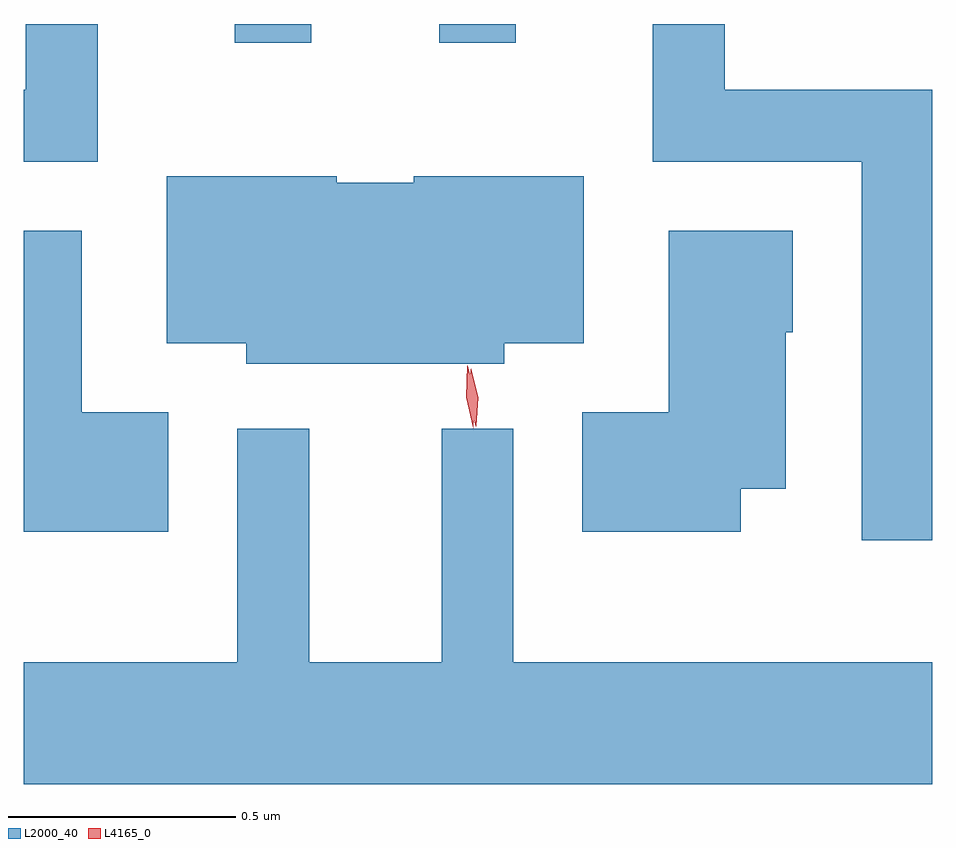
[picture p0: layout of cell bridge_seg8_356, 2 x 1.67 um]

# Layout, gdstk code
import gdstk
lib = gdstk.Library(unit=1e-6, precision=1e-09)
def R(c, l, rs):  # rectangles x0, y0, x1, y1
    for r in rs: c.add(gdstk.rectangle(r[:2], r[2:], *l))
def P(c, l, *ps):  # polygons
    for p in ps: c.add(gdstk.Polygon(p, *l))
L2000_40 = (2000, 40)
L4165_0 = (4165, 0)

bridge_seg8_356 = lib.new_cell('bridge_seg8_356')
R(bridge_seg8_356, L2000_40, [(712.551,1886.888,712.719,1886.929), (713.001,1886.888,713.169,1886.929)])
P(bridge_seg8_356, L2000_40, [(712.249,1886.929),(712.091,1886.929),(712.091,1886.784),(712.086,1886.784),(712.086,1886.626),(712.249,1886.626)],
  [(714.086,1886.784),(713.629,1886.784),(713.629,1886.929),(713.471,1886.929),(713.471,1886.626),(713.931,1886.626),(713.931,1885.793),(714.086,1885.793)],
  [(713.144,1886.226),(713.319,1886.226),(713.319,1886.594),(712.945,1886.594),(712.945,1886.579),(712.775,1886.579),(712.775,1886.594),(712.401,1886.594),(712.401,1886.226),(712.576,1886.226),(712.576,1886.181),(713.144,1886.181)],
  [(713.664,1885.906),(713.764,1885.906),(713.764,1886.25),(713.779,1886.25),(713.779,1886.474),(713.506,1886.474),(713.506,1886.074),(713.316,1886.074),(713.316,1885.811),(713.664,1885.811)],
  [(712.404,1886.074),(712.214,1886.074),(712.214,1886.474),(712.086,1886.474),(712.086,1885.811),(712.404,1885.811)],
  [(714.086,1885.524),(713.164,1885.524),(713.164,1886.038),(713.006,1886.038),(713.006,1885.524),(712.714,1885.524),(712.714,1886.038),(712.556,1886.038),(712.556,1885.524),(712.086,1885.524),(712.086,1885.256),(714.086,1885.256)])
P(bridge_seg8_356, L4165_0, [(713.081,1886.043),(713.081,1886.044),(713.066,1886.106),(713.07,1886.169),(713.071,1886.17),(713.071,1886.169),(713.086,1886.107),(713.082,1886.044)],
  [(713.076,1886.039),(713.076,1886.04),(713.06,1886.107),(713.062,1886.177),(713.063,1886.177),(713.063,1886.177),(713.079,1886.109),(713.076,1886.04)])

lib.write_gds('bridge_seg8_356.gds')
